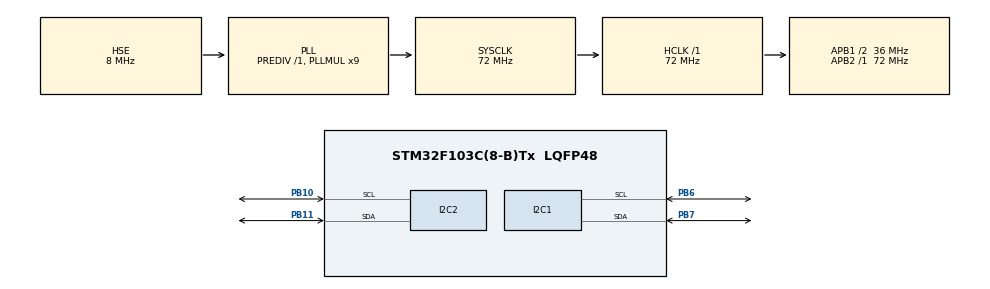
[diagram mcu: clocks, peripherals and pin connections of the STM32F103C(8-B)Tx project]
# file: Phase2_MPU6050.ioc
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Mcu.Family=STM32F1
Mcu.Name=STM32F103C(8-B)Tx
Mcu.Package=LQFP48
NVIC.PriorityGroup=NVIC_PRIORITYGROUP_4
PA13.Mode=Serial_Wire
PA13.Signal=SYS_JTMS-SWDIO
PA14.Mode=Serial_Wire
PA14.Signal=SYS_JTCK-SWCLK
PB10.Mode=I2C
PB10.Signal=I2C2_SCL
PB11.Mode=I2C
PB11.Signal=I2C2_SDA
PB6.Mode=I2C
PB6.Signal=I2C1_SCL
PB7.Mode=I2C
PB7.Signal=I2C1_SDA
PD0-OSC_IN.Mode=HSE-External-Oscillator
PD0-OSC_IN.Signal=RCC_OSC_IN
PD1-OSC_OUT.Mode=HSE-External-Oscillator
PD1-OSC_OUT.Signal=RCC_OSC_OUT
ProjectManager.HeapSize=0x200
ProjectManager.StackSize=0x400
ProjectManager.TargetToolchain=CMake
RCC.AHBFreq_Value=72000000
RCC.APB1CLKDivider=RCC_HCLK_DIV2
RCC.APB1Freq_Value=36000000
RCC.APB1TimFreq_Value=72000000
RCC.APB2Freq_Value=72000000
RCC.APB2TimFreq_Value=72000000
RCC.HCLKFreq_Value=72000000
RCC.PLLMUL=RCC_PLL_MUL9
RCC.PLLSourceVirtual=RCC_PLLSOURCE_HSE
RCC.SYSCLKFreq_VALUE=72000000
RCC.SYSCLKSource=RCC_SYSCLKSOURCE_PLLCLK
RCC.USBFreq_Value=72000000
board=custom

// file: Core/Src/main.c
/* USER CODE BEGIN Header */
/**
  ******************************************************************************
  * @file           : main.c
  * @brief          : Main program body
  ******************************************************************************
  * @attention
  *
  * Copyright (c) 2026 STMicroelectronics.
  * All rights reserved.
  *
  * This software is licensed under terms that can be found in the LICENSE file
  * in the root directory of this software component.
  * If no LICENSE file comes with this software, it is provided AS-IS.
  *
  ******************************************************************************
  */
/* USER CODE END Header */
#include "main.h"
#include "i2c.h"
#include "gpio.h"

/* USER CODE BEGIN Includes */
#include "oled.h"
#include "smartwatch_ui.h"
#include "mpu6050.h"
/* USER CODE END Includes */

/* USER CODE BEGIN PV */
SmartWatchData_t watch_data;
/* USER CODE END PV */

void SystemClock_Config(void);

int main(void)
{

  /* MCU Configuration--------------------------------------------------------*/

  /* Reset of all peripherals, Initializes the Flash interface and the Systick. */
  HAL_Init();

  /* Configure the system clock */
  SystemClock_Config();

  /* Initialize all configured peripherals */
  MX_GPIO_Init();
  MX_I2C1_Init();
  MX_I2C2_Init();
  /* USER CODE BEGIN 2 */

  /* Initialize OLED */
  OLED_Init();

  /* Initialize MPU6050 */
  watch_data.imu_status = (MPU6050_Init() == 0) ? 1 : 0;

  /* Show IMU page */
  UI_DrawPage(PAGE_IMU, &watch_data);

  /* USER CODE END 2 */

  /* Infinite loop */
  while (1)
  {

    /* USER CODE BEGIN 3 */
    uint32_t now = HAL_GetTick();

    /* Read MPU6050 and update display every 200ms */
    {
        static uint32_t last_mpu_tick = 0;
        static uint32_t last_retry_tick = 0;

        if (watch_data.imu_status) {
            if (now - last_mpu_tick >= 200) {
                int acc_ok = MPU6050_ReadAccel(&watch_data.accel);
                int gyr_ok = MPU6050_ReadGyro(&watch_data.gyro);
                float temp = MPU6050_ReadTemp();

                if (acc_ok != 0 || gyr_ok != 0 || temp < -100.0f) {
                    watch_data.imu_status = 0;
                } else {
                    MPU6050_CalcAngle(&watch_data.accel, &watch_data.angle);
                    watch_data.temp_celsius = (int8_t)temp;
                }

                UI_DrawPage(PAGE_IMU, &watch_data);
                last_mpu_tick = now;
            }
        } else {
            if (now - last_retry_tick >= 3000) {
                if (MPU6050_Init() == 0) {
                    watch_data.imu_status = 1;
                }
                UI_DrawPage(PAGE_IMU, &watch_data);
                last_retry_tick = now;
            }
        }
    }
  }
  /* USER CODE END 3 */
}

void SystemClock_Config(void)
{
  RCC_OscInitTypeDef RCC_OscInitStruct = {0};
  RCC_ClkInitTypeDef RCC_ClkInitStruct = {0};

  /** Initializes the RCC Oscillators according to the specified parameters
  * in the RCC_OscInitTypeDef structure.
  */
  RCC_OscInitStruct.OscillatorType = RCC_OSCILLATORTYPE_HSE;
  RCC_OscInitStruct.HSEState = RCC_HSE_ON;
  RCC_OscInitStruct.HSEPredivValue = RCC_HSE_PREDIV_DIV1;
  RCC_OscInitStruct.HSIState = RCC_HSI_ON;
  RCC_OscInitStruct.PLL.PLLState = RCC_PLL_ON;
  RCC_OscInitStruct.PLL.PLLSource = RCC_PLLSOURCE_HSE;
  RCC_OscInitStruct.PLL.PLLMUL = RCC_PLL_MUL9;
  if (HAL_RCC_OscConfig(&RCC_OscInitStruct) != HAL_OK)
  {
    Error_Handler();
  }

  /** Initializes the CPU, AHB and APB buses clocks
  */
  RCC_ClkInitStruct.ClockType = RCC_CLOCKTYPE_HCLK|RCC_CLOCKTYPE_SYSCLK
                              |RCC_CLOCKTYPE_PCLK1|RCC_CLOCKTYPE_PCLK2;
  RCC_ClkInitStruct.SYSCLKSource = RCC_SYSCLKSOURCE_PLLCLK;
  RCC_ClkInitStruct.AHBCLKDivider = RCC_SYSCLK_DIV1;
  RCC_ClkInitStruct.APB1CLKDivider = RCC_HCLK_DIV2;
  RCC_ClkInitStruct.APB2CLKDivider = RCC_HCLK_DIV1;

  if (HAL_RCC_ClockConfig(&RCC_ClkInitStruct, FLASH_LATENCY_2) != HAL_OK)
  {
    Error_Handler();
  }
}

void Error_Handler(void)
{
  __disable_irq();
  while (1)
  {
  }
}
